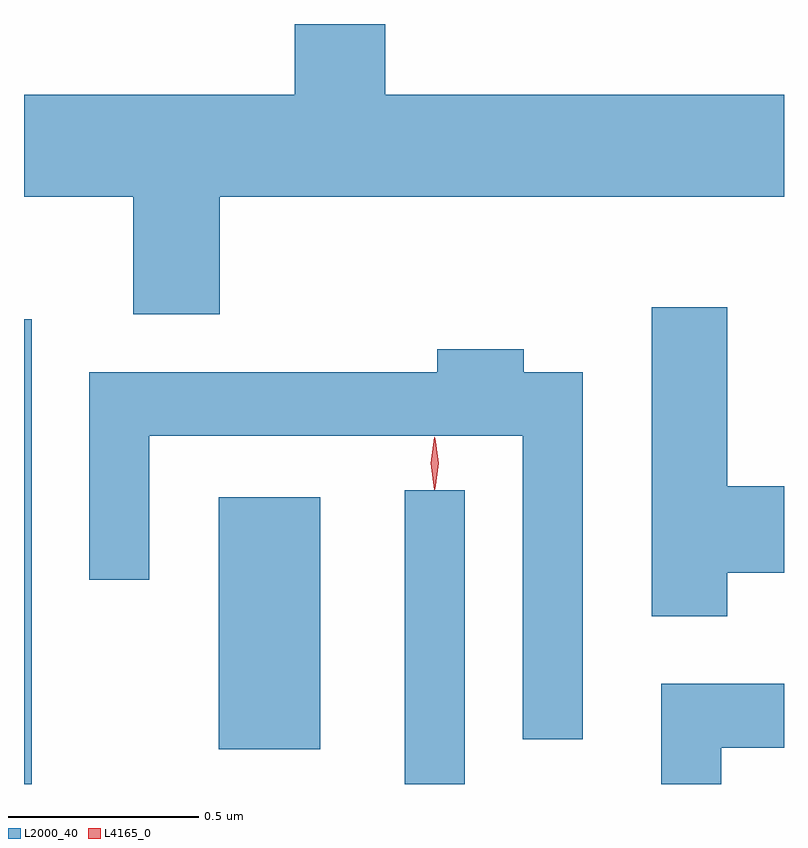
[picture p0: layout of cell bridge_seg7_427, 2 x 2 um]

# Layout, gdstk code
import gdstk
lib = gdstk.Library(unit=1e-6, precision=1e-09)
def R(c, l, rs):  # rectangles x0, y0, x1, y1
    for r in rs: c.add(gdstk.rectangle(r[:2], r[2:], *l))
def P(c, l, *ps):  # polygons
    for p in ps: c.add(gdstk.Polygon(p, *l))
L2000_40 = (2000, 40)
L4165_0 = (4165, 0)

bridge_seg7_427 = lib.new_cell('bridge_seg7_427')
R(bridge_seg7_427, L2000_40, [(1135.314,1670.59,1135.334,1671.813), (1136.316,1670.59,1136.474,1671.363), (1135.826,1670.681,1136.094,1671.344)])
P(bridge_seg7_427, L2000_40, [(1135.829,1672.136),(1137.314,1672.136),(1137.314,1672.404),(1136.264,1672.404),(1136.264,1672.59),(1136.026,1672.59),(1136.026,1672.404),(1135.314,1672.404),(1135.314,1672.136),(1135.601,1672.136),(1135.601,1671.826),(1135.829,1671.826)],
  [(1137.164,1671.146),(1137.314,1671.146),(1137.314,1671.374),(1137.164,1671.374),(1137.164,1671.844),(1136.966,1671.844),(1136.966,1671.031),(1137.164,1671.031)],
  [(1136.784,1671.674),(1136.629,1671.674),(1136.629,1671.734),(1136.401,1671.734),(1136.401,1671.674),(1135.486,1671.674),(1135.486,1671.128),(1135.644,1671.128),(1135.644,1671.506),(1136.626,1671.506),(1136.626,1670.708),(1136.784,1670.708)],
  [(1137.149,1670.686),(1137.314,1670.686),(1137.314,1670.854),(1136.991,1670.854),(1136.991,1670.59),(1137.149,1670.59)])
P(bridge_seg7_427, L4165_0, [(1136.394,1671.364),(1136.385,1671.434),(1136.394,1671.502),(1136.395,1671.503),(1136.395,1671.502),(1136.405,1671.434),(1136.395,1671.364),(1136.395,1671.364)],
  [(1136.395,1671.367),(1136.395,1671.367),(1136.386,1671.434),(1136.395,1671.5),(1136.396,1671.5),(1136.396,1671.5),(1136.405,1671.434),(1136.396,1671.367)])

lib.write_gds('bridge_seg7_427.gds')
